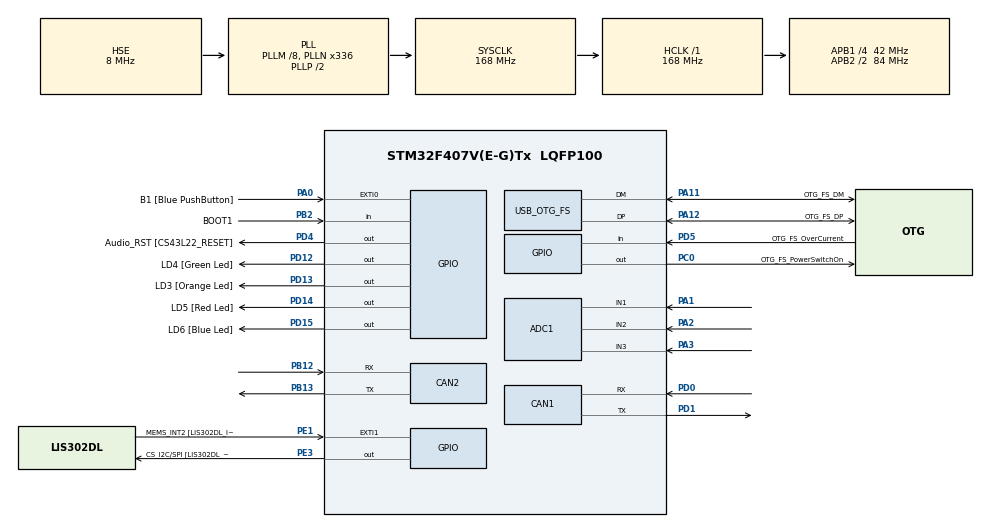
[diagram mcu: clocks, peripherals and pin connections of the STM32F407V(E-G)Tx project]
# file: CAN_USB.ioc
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ADC1.Channel-2\#ChannelRegularConversion=ADC_CHANNEL_1
ADC1.NbrOfConversionFlag=1
ADC1.Rank-2\#ChannelRegularConversion=1
ADC1.SamplingTime-2\#ChannelRegularConversion=ADC_SAMPLETIME_3CYCLES
ADC1.master=1
CAN1.CalculateTimeBit=1142
CAN1.CalculateTimeQuantum=380.95238095238096
CAN2.CalculateTimeBit=1142
CAN2.CalculateTimeQuantum=380.95238095238096
FREERTOS.Tasks01=defaultTask,0,128,StartDefaultTask
Mcu.Family=STM32F4
Mcu.Name=STM32F407V(E-G)Tx
Mcu.Package=LQFP100
NVIC.OTG_FS_IRQn=true\:5\:0\:false
NVIC.PriorityGroup=NVIC_PRIORITYGROUP_4
PA0-WKUP.GPIO_Label=B1 [Blue PushButton]
PA0-WKUP.GPIO_ModeDefaultEXTI=GPIO_MODE_EVT_RISING
PA0-WKUP.GPIO_PuPd=GPIO_NOPULL
PA0-WKUP.Signal=GPXTI0
PA1.Signal=ADCx_IN1
PA10.GPIO_Label=OTG_FS_ID
PA10.GPIO_Mode=GPIO_MODE_AF_PP
PA10.GPIO_PuPd=GPIO_NOPULL
PA10.GPIO_Speed=GPIO_SPEED_LOW
PA10.Signal=USB_OTG_FS_ID
PA11.GPIO_Label=OTG_FS_DM
PA11.GPIO_Mode=GPIO_MODE_AF_PP
PA11.GPIO_PuPd=GPIO_NOPULL
PA11.GPIO_Speed=GPIO_SPEED_LOW
PA11.Mode=Device_Only
PA11.Signal=USB_OTG_FS_DM
PA12.GPIO_Label=OTG_FS_DP
PA12.GPIO_Mode=GPIO_MODE_AF_PP
PA12.GPIO_PuPd=GPIO_NOPULL
PA12.GPIO_Speed=GPIO_SPEED_LOW
PA12.Mode=Device_Only
PA12.Signal=USB_OTG_FS_DP
PA13.GPIO_Label=SWDIO
PA13.Mode=Trace-Asynchronous_SW
PA13.Signal=SYS_JTMS-SWDIO
PA14.GPIO_Label=SWCLK
PA14.Mode=Trace-Asynchronous_SW
PA14.Signal=SYS_JTCK-SWCLK
PA2.Signal=ADCx_IN2
PA3.Signal=ADCx_IN3
PA4.GPIO_Label=I2S3_WS [CS43L22_LRCK]
PA4.GPIO_Mode=GPIO_MODE_AF_PP
PA4.GPIO_PuPd=GPIO_NOPULL
PA4.GPIO_Speed=GPIO_SPEED_LOW
PA4.Signal=I2S3_WS
PA5.GPIO_Label=SPI1_SCK [LIS302DL_SCL/SPC]
PA5.GPIO_Mode=GPIO_MODE_AF_PP
PA5.GPIO_PuPd=GPIO_NOPULL
PA5.GPIO_Speed=GPIO_SPEED_LOW
PA5.Signal=SPI1_SCK
PA6.GPIO_Label=SPI1_MISO [LIS302DL_SDO]
PA6.GPIO_Mode=GPIO_MODE_AF_PP
PA6.GPIO_PuPd=GPIO_NOPULL
PA6.GPIO_Speed=GPIO_SPEED_LOW
PA6.Signal=SPI1_MISO
PA7.GPIO_Label=SPI1_MOSI [LIS302DL_SDA/SDI/SDO]
PA7.GPIO_Mode=GPIO_MODE_AF_PP
PA7.GPIO_PuPd=GPIO_NOPULL
PA7.GPIO_Speed=GPIO_SPEED_LOW
PA7.Signal=SPI1_MOSI
PA9.GPIO_Label=VBUS_FS
PA9.GPIO_Mode=GPIO_MODE_INPUT
PA9.GPIO_PuPd=GPIO_NOPULL
PA9.Signal=USB_OTG_FS_VBUS
PB10.GPIO_Label=CLK_IN [MP45DT02_CLK]
PB10.GPIO_Mode=GPIO_MODE_AF_PP
PB10.GPIO_PuPd=GPIO_NOPULL
PB10.GPIO_Speed=GPIO_SPEED_LOW
PB10.Signal=I2S2_CK
PB12.Mode=Slave
PB12.Signal=CAN2_RX
PB13.Mode=Slave
PB13.Signal=CAN2_TX
PB2.GPIO_Label=BOOT1
PB2.GPIO_Mode=GPIO_MODE_INPUT
PB2.GPIO_PuPd=GPIO_NOPULL
PB2.Signal=GPIO_Input
PB3.GPIO_Label=SWO
PB3.Mode=Trace-Asynchronous_SW
PB3.Signal=SYS_JTDO-SWO
PB6.GPIO_Label=Audio_SCL [CS43L22_SCL]
PB6.GPIO_Mode=GPIO_MODE_AF_OD
PB6.GPIO_PuPd=GPIO_NOPULL
PB6.GPIO_Speed=GPIO_SPEED_LOW
PB6.Signal=I2C1_SCL
PB9.GPIO_Label=Audio_SDA [CS43L22_SDA]
PB9.GPIO_Mode=GPIO_MODE_AF_OD
PB9.GPIO_PuPd=GPIO_NOPULL
PB9.GPIO_Speed=GPIO_SPEED_LOW
PB9.Signal=I2C1_SDA
PC0.GPIO_Label=OTG_FS_PowerSwitchOn
PC0.GPIO_PuPd=GPIO_NOPULL
PC0.GPIO_Speed=GPIO_SPEED_LOW
PC0.Signal=GPIO_Output
PC10.GPIO_Label=I2S3_SCK [CS43L22_SCLK]
PC10.GPIO_Mode=GPIO_MODE_AF_PP
PC10.GPIO_PuPd=GPIO_NOPULL
PC10.GPIO_Speed=GPIO_SPEED_LOW
PC10.Signal=I2S3_CK
PC12.GPIO_Label=I2S3_SD [CS43L22_SDIN]
PC12.GPIO_Mode=GPIO_MODE_AF_PP
PC12.GPIO_PuPd=GPIO_NOPULL
PC12.GPIO_Speed=GPIO_SPEED_LOW
PC12.Signal=I2S3_SD
PC14-OSC32_IN.GPIO_Label=PC14-OSC32_IN
PC14-OSC32_IN.Signal=RCC_OSC32_IN
PC15-OSC32_OUT.GPIO_Label=PC15-OSC32_OUT
PC15-OSC32_OUT.Signal=RCC_OSC32_OUT
PC3.GPIO_Label=PDM_OUT [MP45DT02_DOUT]
PC3.GPIO_Mode=GPIO_MODE_AF_PP
PC3.GPIO_PuPd=GPIO_NOPULL
PC3.GPIO_Speed=GPIO_SPEED_LOW
PC3.Signal=I2S2_SD
PC7.GPIO_Label=I2S3_MCK [CS43L22_MCLK]
PC7.GPIO_Mode=GPIO_MODE_AF_PP
PC7.GPIO_PuPd=GPIO_NOPULL
PC7.GPIO_Speed=GPIO_SPEED_LOW
PC7.Signal=I2S3_MCK
PD0.Mode=Master
PD0.Signal=CAN1_RX
PD1.Mode=Master
PD1.Signal=CAN1_TX
PD12.GPIO_Label=LD4 [Green Led]
PD12.GPIO_PuPd=GPIO_NOPULL
PD12.GPIO_Speed=GPIO_SPEED_LOW
PD12.Signal=GPIO_Output
PD13.GPIO_Label=LD3 [Orange Led]
PD13.GPIO_PuPd=GPIO_NOPULL
PD13.GPIO_Speed=GPIO_SPEED_LOW
PD13.Signal=GPIO_Output
PD14.GPIO_Label=LD5 [Red Led]
PD14.GPIO_PuPd=GPIO_NOPULL
PD14.GPIO_Speed=GPIO_SPEED_LOW
PD14.Signal=GPIO_Output
PD15.GPIO_Label=LD6 [Blue Led]
PD15.GPIO_PuPd=GPIO_NOPULL
PD15.GPIO_Speed=GPIO_SPEED_LOW
PD15.Signal=GPIO_Output
PD4.GPIO_Label=Audio_RST [CS43L22_RESET]
PD4.GPIO_PuPd=GPIO_NOPULL
PD4.GPIO_Speed=GPIO_SPEED_LOW
PD4.Signal=GPIO_Output
PD5.GPIO_Label=OTG_FS_OverCurrent
PD5.GPIO_Mode=GPIO_MODE_INPUT
PD5.GPIO_PuPd=GPIO_NOPULL
PD5.Signal=GPIO_Input
PE1.GPIO_Label=MEMS_INT2 [LIS302DL_INT2]
PE1.GPIO_ModeDefaultEXTI=GPIO_MODE_EVT_RISING
PE1.GPIO_PuPd=GPIO_NOPULL
PE1.Signal=GPXTI1
PE3.GPIO_Label=CS_I2C/SPI [LIS302DL_CS_I2C/SPI]
PE3.GPIO_PuPd=GPIO_NOPULL
PE3.GPIO_Speed=GPIO_SPEED_LOW
PE3.Signal=GPIO_Output
PH0-OSC_IN.GPIO_Label=PH0-OSC_IN
PH0-OSC_IN.Mode=HSE-External-Oscillator
PH0-OSC_IN.Signal=RCC_OSC_IN
PH1-OSC_OUT.GPIO_Label=PH1-OSC_OUT
PH1-OSC_OUT.Mode=HSE-External-Oscillator
PH1-OSC_OUT.Signal=RCC_OSC_OUT
ProjectManager.TargetToolchain=MDK-ARM V5
RCC.48MHZClocksFreq_Value=48000000
RCC.AHBFreq_Value=168000000
RCC.APB1CLKDivider=RCC_HCLK_DIV4
RCC.APB1Freq_Value=42000000
RCC.APB1TimFreq_Value=84000000
RCC.APB2CLKDivider=RCC_HCLK_DIV2
RCC.APB2Freq_Value=84000000
RCC.APB2TimFreq_Value=168000000
RCC.CortexFreq_Value=168000000
RCC.HCLKFreq_Value=168000000
RCC.HSE_VALUE=8000000
RCC.HSI_VALUE=16000000
RCC.LSE_VALUE=32768
RCC.PLLM=8
RCC.PLLN=336
RCC.PLLQ=7
RCC.SYSCLKFreq_VALUE=168000000
RCC.SYSCLKSource=RCC_SYSCLKSOURCE_PLLCLK
RCC.VCOOutputFreq_Value=336000000
SH.ADCx_IN1.0=ADC1_IN1,IN1
SH.ADCx_IN2.0=ADC1_IN2,IN2
SH.ADCx_IN3.0=ADC1_IN3,IN3
USB_DEVICE.CLASS_NAME-CUSTOM_HID_FS=CUSTOMHID
USB_DEVICE.USBD_HandleTypeDef-CUSTOM_HID_FS=hUsbDeviceFS
USB_DEVICE.VirtualMode-CUSTOM_HID_FS=CustomHid
USB_DEVICE.VirtualModeFS=Custom_Hid_FS
USB_OTG_FS.VirtualMode=Device_Only
VP_FREERTOS_VS_ENABLE.Mode=Enabled
VP_USB_DEVICE_VS_USB_DEVICE_CUSTOM_HID_FS.Mode=CUSTOM_HID_FS

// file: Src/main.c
/**
  ******************************************************************************
  * File Name          : main.c
  * Description        : Main program body
  ******************************************************************************
  *
  * COPYRIGHT(c) 2015 STMicroelectronics
  *
  * Redistribution and use in source and binary forms, with or without modification,
  * are permitted provided that the following conditions are met:
  *   1. Redistributions of source code must retain the above copyright notice,
  *      this list of conditions and the following disclaimer.
  *   2. Redistributions in binary form must reproduce the above copyright notice,
  *      this list of conditions and the following disclaimer in the documentation
  *      and/or other materials provided with the distribution.
  *   3. Neither the name of STMicroelectronics nor the names of its contributors
  *      may be used to endorse or promote products derived from this software
  *      without specific prior written permission.
  *
  * THIS SOFTWARE IS PROVIDED BY THE COPYRIGHT HOLDERS AND CONTRIBUTORS "AS IS"
  * AND ANY EXPRESS OR IMPLIED WARRANTIES, INCLUDING, BUT NOT LIMITED TO, THE
  * IMPLIED WARRANTIES OF MERCHANTABILITY AND FITNESS FOR A PARTICULAR PURPOSE ARE
  * DISCLAIMED. IN NO EVENT SHALL THE COPYRIGHT HOLDER OR CONTRIBUTORS BE LIABLE
  * FOR ANY DIRECT, INDIRECT, INCIDENTAL, SPECIAL, EXEMPLARY, OR CONSEQUENTIAL
  * DAMAGES (INCLUDING, BUT NOT LIMITED TO, PROCUREMENT OF SUBSTITUTE GOODS OR
  * SERVICES; LOSS OF USE, DATA, OR PROFITS; OR BUSINESS INTERRUPTION) HOWEVER
  * CAUSED AND ON ANY THEORY OF LIABILITY, WHETHER IN CONTRACT, STRICT LIABILITY,
  * OR TORT (INCLUDING NEGLIGENCE OR OTHERWISE) ARISING IN ANY WAY OUT OF THE USE
  * OF THIS SOFTWARE, EVEN IF ADVISED OF THE POSSIBILITY OF SUCH DAMAGE.
  *
  ******************************************************************************
  */

#include "stm32f4xx_hal.h"
#include "cmsis_os.h"
#include "usb_device.h"
#include "usbd_customhid.h"
#include "can_dbc.h"
#include "timers.h"

ADC_HandleTypeDef hadc1;

CAN_HandleTypeDef hcan1;
CAN_HandleTypeDef hcan2;

osThreadId defaultTaskHandle;

/* USER CODE BEGIN PV */

uint8_t engine_switch_pressed = 0;
uint8_t message_received_flag = 0;
uint8_t message_transmitted_flag = 0;
uint8_t timer_expire_count=0;

#define LAMP_HIGH_BEAM			 		GPIO_PIN_12
#define LAMP_LOW_BEAM				 		GPIO_PIN_13
#define LAMP_TURN_RIGHT			 		GPIO_PIN_14
#define LAMP_TURN_LEFT			 		GPIO_PIN_15
#define LAMP_MARKER							GPIO_PIN_8
#define LAMP_DRL								GPIO_PIN_9
#define LAMP_EMERGENCY_STOP			GPIO_PIN_10
#define LAMP_FRONT_FOG					GPIO_PIN_11
#define LAMP_REAR_FOG						GPIO_PIN_3
#define LAMP_TAIL								GPIO_PIN_4
#define LAMP_BRAKE							GPIO_PIN_5
#define LAMP_DOME								GPIO_PIN_6

#define STACK_SIZE  1024

/* USER CODE END PV */

void SystemClock_Config(void);
static void MX_GPIO_Init(void);
static void MX_ADC1_Init(void);
static void MX_CAN1_Init(void);
static void MX_CAN2_Init(void);
void StartDefaultTask(void const * argument);

/* USER CODE BEGIN PFP */

void vTask_ControlLamps(void *parameters);
void vTask_SendEngineStatus(void *parameters);
void vTask_SendDataToPc(void *parameters);

/* USER CODE END PFP */

int main(void)
{

  /* MCU Configuration----------------------------------------------------------*/

  /* Reset of all peripherals, Initializes the Flash interface and the Systick. */
  HAL_Init();

  /* Configure the system clock */
  SystemClock_Config();

  /* Initialize all configured peripherals */
  MX_GPIO_Init();
  MX_ADC1_Init();
  MX_CAN1_Init();
  MX_CAN2_Init();
	MX_USB_DEVICE_Init();

  /* Create the thread(s) */
  /* definition and creation of defaultTask */
  //osThreadDef(defaultTask, StartDefaultTask, osPriorityNormal, 0, 128);
  //defaultTaskHandle = osThreadCreate(osThread(defaultTask), NULL);

  /* USER CODE BEGIN RTOS_THREADS */
  /* add threads, ... */

	/* Task reads the message MSG_INT_EXT_LIGHT and sets interior and exterior lamps accordingly */
	//xTaskCreate( vTask_SendDataToPc, "USBTask", STACK_SIZE, NULL, tskIDLE_PRIORITY, NULL );
	xTaskCreate( vTask_ControlLamps, "SetLeds", STACK_SIZE, NULL, tskIDLE_PRIORITY, NULL );
	xTaskCreate( vTask_SendEngineStatus, "SendEngineStatus", STACK_SIZE, NULL, tskIDLE_PRIORITY + 1, NULL );

  /* USER CODE END RTOS_THREADS */

  /* Start scheduler */
  osKernelStart();

  /* We should never get here as control is now taken by the scheduler */

  /* Infinite loop */
  while (1)
  {

  }

}

/** System Clock Configuration
*/
void SystemClock_Config(void)
{

  RCC_OscInitTypeDef RCC_OscInitStruct;
  RCC_ClkInitTypeDef RCC_ClkInitStruct;

  __PWR_CLK_ENABLE();

  __HAL_PWR_VOLTAGESCALING_CONFIG(PWR_REGULATOR_VOLTAGE_SCALE1);

  RCC_OscInitStruct.OscillatorType = RCC_OSCILLATORTYPE_HSE;
  RCC_OscInitStruct.HSEState = RCC_HSE_ON;
  RCC_OscInitStruct.PLL.PLLState = RCC_PLL_ON;
  RCC_OscInitStruct.PLL.PLLSource = RCC_PLLSOURCE_HSE;
  RCC_OscInitStruct.PLL.PLLM = 8;
  RCC_OscInitStruct.PLL.PLLN = 336;
  RCC_OscInitStruct.PLL.PLLP = RCC_PLLP_DIV2;
  RCC_OscInitStruct.PLL.PLLQ = 7;
  HAL_RCC_OscConfig(&RCC_OscInitStruct);

  RCC_ClkInitStruct.ClockType = RCC_CLOCKTYPE_SYSCLK|RCC_CLOCKTYPE_PCLK1
                              |RCC_CLOCKTYPE_PCLK2;
  RCC_ClkInitStruct.SYSCLKSource = RCC_SYSCLKSOURCE_PLLCLK;
  RCC_ClkInitStruct.AHBCLKDivider = RCC_SYSCLK_DIV1;
  RCC_ClkInitStruct.APB1CLKDivider = RCC_HCLK_DIV4;
  RCC_ClkInitStruct.APB2CLKDivider = RCC_HCLK_DIV2;
  HAL_RCC_ClockConfig(&RCC_ClkInitStruct, FLASH_LATENCY_5);

  HAL_SYSTICK_Config(HAL_RCC_GetHCLKFreq()/1000);

  HAL_SYSTICK_CLKSourceConfig(SYSTICK_CLKSOURCE_HCLK);

}

/* ADC1 init function */
void MX_ADC1_Init(void)
{

  ADC_ChannelConfTypeDef sConfig;

    /**Configure the global features of the ADC (Clock, Resolution, Data Alignment and number of conversion)
    */
  hadc1.Instance = ADC1;
  hadc1.Init.ClockPrescaler = ADC_CLOCKPRESCALER_PCLK_DIV4;
  hadc1.Init.Resolution = ADC_RESOLUTION12b;
  hadc1.Init.ScanConvMode = DISABLE;
  hadc1.Init.ContinuousConvMode = DISABLE;
  hadc1.Init.DiscontinuousConvMode = DISABLE;
  hadc1.Init.ExternalTrigConvEdge = ADC_EXTERNALTRIGCONVEDGE_NONE;
  hadc1.Init.DataAlign = ADC_DATAALIGN_RIGHT;
  hadc1.Init.NbrOfConversion = 1;
  hadc1.Init.DMAContinuousRequests = DISABLE;
  hadc1.Init.EOCSelection = EOC_SINGLE_CONV;
  HAL_ADC_Init(&hadc1);

    /**Configure for the selected ADC regular channel its corresponding rank in the sequencer and its sample time.
    */
  sConfig.Channel = ADC_CHANNEL_1;
  sConfig.Rank = 1;
  sConfig.SamplingTime = ADC_SAMPLETIME_3CYCLES;
  HAL_ADC_ConfigChannel(&hadc1, &sConfig);

}

/* CAN1 init function */
void MX_CAN1_Init(void)
{

  IRQn_Type irq;
  static CanRxMsgTypeDef RxMessage;
	static CanTxMsgTypeDef TxMessage;
  CAN_FilterConfTypeDef  sFilterConfig;

  __CAN_CLK_ENABLE();

  hcan1.Instance = CAN1;
  hcan1.pRxMsg   = &RxMessage;
	hcan1.pTxMsg   = &TxMessage;
  hcan1.Init.Prescaler = 16;
  hcan1.Init.Mode = CAN_MODE_NORMAL;
  hcan1.Init.SJW = CAN_SJW_1TQ;
  hcan1.Init.BS1 = CAN_BS1_14TQ;
  hcan1.Init.BS2 = CAN_BS2_6TQ;
  hcan1.Init.TTCM = DISABLE;
  hcan1.Init.ABOM = DISABLE;
  hcan1.Init.AWUM = DISABLE;
  hcan1.Init.NART = DISABLE;
  hcan1.Init.RFLM = DISABLE;
  hcan1.Init.TXFP = DISABLE;
  HAL_CAN_Init(&hcan1);

  /*##-2- Configure the CAN Filter ###########################################*/
  sFilterConfig.FilterNumber = 0;
  sFilterConfig.FilterMode = CAN_FILTERMODE_IDMASK;
  sFilterConfig.FilterScale = CAN_FILTERSCALE_32BIT;
  sFilterConfig.FilterIdHigh = 0x0000;
  sFilterConfig.FilterIdLow = 0x0000;
  sFilterConfig.FilterMaskIdHigh = 0x0000;
  sFilterConfig.FilterMaskIdLow = 0x0000;
  sFilterConfig.FilterFIFOAssignment = 0;
  sFilterConfig.FilterActivation = ENABLE;
  sFilterConfig.BankNumber = 14;

  if(HAL_CAN_ConfigFilter(&hcan1, &sFilterConfig) != HAL_OK)
  {
    /* Filter configuration Error */
    while(1);
  }

  irq = CAN1_RX0_IRQn;

  HAL_NVIC_EnableIRQ(irq);

  HAL_CAN_Receive_IT(&hcan1, CAN_FIFO0);

}

/* CAN2 init function */
void MX_CAN2_Init(void)
{

  hcan2.Instance = CAN2;
  hcan2.Init.Prescaler = 16;
  hcan2.Init.Mode = CAN_MODE_NORMAL;
  hcan2.Init.SJW = CAN_SJW_1TQ;
  hcan2.Init.BS1 = CAN_BS1_1TQ;
  hcan2.Init.BS2 = CAN_BS2_1TQ;
  hcan2.Init.TTCM = DISABLE;
  hcan2.Init.ABOM = DISABLE;
  hcan2.Init.AWUM = DISABLE;
  hcan2.Init.NART = DISABLE;
  hcan2.Init.RFLM = DISABLE;
  hcan2.Init.TXFP = DISABLE;
  HAL_CAN_Init(&hcan2);

}

/** Configure pins as
        * Analog
        * Input
        * Output
        * EVENT_OUT
        * EXTI
     PC3   ------> I2S2_SD
     PA4   ------> I2S3_WS
     PA5   ------> SPI1_SCK
     PA6   ------> SPI1_MISO
     PA7   ------> SPI1_MOSI
     PB10   ------> I2S2_CK
     PC7   ------> I2S3_MCK
     PC10   ------> I2S3_CK
     PC12   ------> I2S3_SD
     PB6   ------> I2C1_SCL
     PB9   ------> I2C1_SDA
*/
void MX_GPIO_Init(void)
{

  GPIO_InitTypeDef GPIO_InitStruct;

  /* GPIO Ports Clock Enable */
  __GPIOE_CLK_ENABLE();
  __GPIOC_CLK_ENABLE();
  __GPIOH_CLK_ENABLE();
  __GPIOA_CLK_ENABLE();
  __GPIOB_CLK_ENABLE();
  __GPIOD_CLK_ENABLE();

  /*Configure GPIO pin : PE3 */
  GPIO_InitStruct.Pin = GPIO_PIN_3;
  GPIO_InitStruct.Mode = GPIO_MODE_OUTPUT_PP;
  GPIO_InitStruct.Pull = GPIO_NOPULL;
  GPIO_InitStruct.Speed = GPIO_SPEED_LOW;
  HAL_GPIO_Init(GPIOE, &GPIO_InitStruct);

  /*Configure GPIO pin : PC0 */
  GPIO_InitStruct.Pin = GPIO_PIN_0;
  GPIO_InitStruct.Mode = GPIO_MODE_OUTPUT_PP;
  GPIO_InitStruct.Pull = GPIO_NOPULL;
  GPIO_InitStruct.Speed = GPIO_SPEED_LOW;
  HAL_GPIO_Init(GPIOC, &GPIO_InitStruct);

  /*Configure GPIO pin : PC3 */
  GPIO_InitStruct.Pin = GPIO_PIN_3;
  GPIO_InitStruct.Mode = GPIO_MODE_AF_PP;
  GPIO_InitStruct.Pull = GPIO_NOPULL;
  GPIO_InitStruct.Speed = GPIO_SPEED_LOW;
  GPIO_InitStruct.Alternate = GPIO_AF5_SPI2;
  HAL_GPIO_Init(GPIOC, &GPIO_InitStruct);

  /*Configure GPIO pin : PA0 */
  GPIO_InitStruct.Pin = GPIO_PIN_0;
  GPIO_InitStruct.Mode = GPIO_MODE_EVT_RISING;
  GPIO_InitStruct.Pull = GPIO_NOPULL;
  HAL_GPIO_Init(GPIOA, &GPIO_InitStruct);

  /*Configure GPIO pin : PA4 */
  GPIO_InitStruct.Pin = GPIO_PIN_4;
  GPIO_InitStruct.Mode = GPIO_MODE_AF_PP;
  GPIO_InitStruct.Pull = GPIO_NOPULL;
  GPIO_InitStruct.Speed = GPIO_SPEED_LOW;
  GPIO_InitStruct.Alternate = GPIO_AF6_SPI3;
  HAL_GPIO_Init(GPIOA, &GPIO_InitStruct);

  /*Configure GPIO pins : PA5 PA6 PA7 */
  GPIO_InitStruct.Pin = GPIO_PIN_5|GPIO_PIN_6|GPIO_PIN_7;
  GPIO_InitStruct.Mode = GPIO_MODE_AF_PP;
  GPIO_InitStruct.Pull = GPIO_NOPULL;
  GPIO_InitStruct.Speed = GPIO_SPEED_LOW;
  GPIO_InitStruct.Alternate = GPIO_AF5_SPI1;
  HAL_GPIO_Init(GPIOA, &GPIO_InitStruct);

  /*Configure GPIO pin : PB2 */
  GPIO_InitStruct.Pin = GPIO_PIN_2;
  GPIO_InitStruct.Mode = GPIO_MODE_INPUT;
  GPIO_InitStruct.Pull = GPIO_NOPULL;
  HAL_GPIO_Init(GPIOB, &GPIO_InitStruct);

  /*Configure GPIO pin : PB10 */
  GPIO_InitStruct.Pin = GPIO_PIN_10;
  GPIO_InitStruct.Mode = GPIO_MODE_AF_PP;
  GPIO_InitStruct.Pull = GPIO_NOPULL;
  GPIO_InitStruct.Speed = GPIO_SPEED_LOW;
  GPIO_InitStruct.Alternate = GPIO_AF5_SPI2;
  HAL_GPIO_Init(GPIOB, &GPIO_InitStruct);

  /*Configure GPIO pins : PD12 PD13 PD14 PD15
                           PD4 */
  GPIO_InitStruct.Pin = GPIO_PIN_12|GPIO_PIN_13|GPIO_PIN_14|GPIO_PIN_15
                          |GPIO_PIN_4;
  GPIO_InitStruct.Mode = GPIO_MODE_OUTPUT_PP;
  GPIO_InitStruct.Pull = GPIO_NOPULL;
  GPIO_InitStruct.Speed = GPIO_SPEED_LOW;
  HAL_GPIO_Init(GPIOD, &GPIO_InitStruct);

  /*Configure GPIO pins : PC7 PC10 PC12 */
  GPIO_InitStruct.Pin = GPIO_PIN_7|GPIO_PIN_10|GPIO_PIN_12;
  GPIO_InitStruct.Mode = GPIO_MODE_AF_PP;
  GPIO_InitStruct.Pull = GPIO_NOPULL;
  GPIO_InitStruct.Speed = GPIO_SPEED_LOW;
  GPIO_InitStruct.Alternate = GPIO_AF6_SPI3;
  HAL_GPIO_Init(GPIOC, &GPIO_InitStruct);

  /*Configure GPIO pin : PD5 */
  GPIO_InitStruct.Pin = GPIO_PIN_5;
  GPIO_InitStruct.Mode = GPIO_MODE_INPUT;
  GPIO_InitStruct.Pull = GPIO_NOPULL;
  HAL_GPIO_Init(GPIOD, &GPIO_InitStruct);

  /*Configure GPIO pins : PB6 PB9 */
  GPIO_InitStruct.Pin = GPIO_PIN_6|GPIO_PIN_9;
  GPIO_InitStruct.Mode = GPIO_MODE_AF_OD;
  GPIO_InitStruct.Pull = GPIO_PULLUP;
  GPIO_InitStruct.Speed = GPIO_SPEED_LOW;
  GPIO_InitStruct.Alternate = GPIO_AF4_I2C1;
  HAL_GPIO_Init(GPIOB, &GPIO_InitStruct);

  /*Configure GPIO pin : PE1 */
  GPIO_InitStruct.Pin = GPIO_PIN_1;
  GPIO_InitStruct.Mode = GPIO_MODE_EVT_RISING;
  GPIO_InitStruct.Pull = GPIO_NOPULL;
  HAL_GPIO_Init(GPIOE, &GPIO_InitStruct);

}

/* USER CODE BEGIN 4 */

void vTimerCallback( TimerHandle_t pxTimer )
{
	const uint8_t xMaxExpiryCountBeforeStopping = 5;

	/* Optionally do something if the pxTimer parameter is NULL. */
  configASSERT( pxTimer );

	if(xMaxExpiryCountBeforeStopping == timer_expire_count)
	{
		timer_expire_count = 0;
		xTimerStop( pxTimer, 0 );
	}
	else
	{

	}

}

/*
Task: 			 vTask_SendEngineStatus
Parameters:  void
Return: 		 void
Description: This FreeRTOS thread sends the engine status to all ECUs. Note that engine button is push to start
             and push to stop.
*/

void vTask_SendEngineStatus(void *parameters)
{
	uint8_t i=0;
	uint8_t data[11];
	static uint8_t msg_transmit_cnt=5;
	TickType_t xLastWakeTime;
  const TickType_t xFrequency = 1000;
	TimerHandle_t xTimer;
	xTimer = xTimerCreate
								(  /* Just a text name, not used by the RTOS kernel. */
                     "Timer",
                     /* The timer period in ticks. */
                     ( 200 ),
                     /* The timers will auto-reload themselves when they expire. */
                     pdTRUE,
                     /* Assign each timer a unique id equal to its array index. */
                     ( void * ) 1,
                     /* Each timer calls the same callback when it expires. */
                     vTimerCallback
                );

	for(;;)
		{
			//switch has been pressed. inital value of engine_switch_pressed is 0.
			if((GPIO_PIN_SET == HAL_GPIO_ReadPin(GPIOA, GPIO_PIN_0)) && (msg_transmit_cnt==5))
			{
				engine_switch_pressed= !engine_switch_pressed;
				msg_transmit_cnt = 0;
				/*
				timer_expire_count = 0;
				if( xTimerStart( xTimer, 0 ) != pdPASS )
        {
           // The timer could not be set into the Active state.
        }
				*/

			}

			if(msg_transmit_cnt<5)
			{
				//prepare message
					hcan1.pTxMsg->StdId   = MSG_Engine_Status;
					hcan1.pTxMsg->DLC     = DLC_Engine_Status;
					hcan1.pTxMsg->IDE     = CAN_RTR_DATA;
					hcan1.pTxMsg->RTR     = CAN_ID_STD;
					hcan1.pTxMsg->Data[0] = (engine_switch_pressed & SIGNAL_ENGINE_STATUS);

					//Transmit the message
					if(HAL_OK == HAL_CAN_Transmit(&hcan1, 100))
					{
							HAL_GPIO_WritePin(GPIOD, GPIO_PIN_13, GPIO_PIN_SET);
					}
					else
					{
							HAL_GPIO_WritePin(GPIOD, GPIO_PIN_13, GPIO_PIN_RESET);
					}

					//timer_expire_count += 1;
					msg_transmit_cnt =  msg_transmit_cnt + 1;

					//make message_transmitted flag to 1 so that USB task will send message to PC
					message_transmitted_flag = 1;

					i=0;

					data[i++] =  hcan1.pTxMsg->StdId;
					data[i++] = (hcan1.pTxMsg->StdId) >> 8;
					data[i++] =  hcan1.pTxMsg->DLC;

					for(; i<11; i++)
					{
					data[i] = hcan1.pTxMsg->Data[i-3];
					}

					if(USBD_OK == USBD_CUSTOM_HID_SendReport(&hUsbDeviceFS, data, sizeof(data)))
					{

					}
					else
					{

					}

			}

			vTaskDelayUntil(&xLastWakeTime,xFrequency);

		}

}

/*
Task: 			 vTask_ControlLamps
Parameters:  void
Return: 		 void
Description: This FreeRTOS thread reads message MSG_INT_EXT_LIGHT(0x350) and sets corresponding lamps on or off accordingly
*/
void vTask_ControlLamps(void *parameters)
{
	uint8_t data[11];
	int i=0;
	TickType_t xLastWakeTime;
  const TickType_t xFrequency = 50;

  // Initialise the xLastWakeTime variable with the current time.
  xLastWakeTime = xTaskGetTickCount();

	for(;;)	//run task continuously
	{
		if(hcan1.pRxMsg->StdId==MSG_INT_EXT_LIGHT)
		{

			//set message_received_flag to 1 so that USB task can send this message to PC
			message_received_flag = 1;

			/* For high beam */
			if(hcan1.pRxMsg->Data[0] & SIGNAL_HIGH_BEAM){
				HAL_GPIO_WritePin(GPIOD, LAMP_HIGH_BEAM, GPIO_PIN_SET);
			}
			else{
				HAL_GPIO_WritePin(GPIOD, LAMP_HIGH_BEAM, GPIO_PIN_RESET);
			}

			/* For low beam */
			if((hcan1.pRxMsg->Data[0] & SIGNAL_LOW_BEAM)){
				HAL_GPIO_WritePin(GPIOD, LAMP_LOW_BEAM, GPIO_PIN_SET);
			}
			else{
				HAL_GPIO_WritePin(GPIOD, LAMP_LOW_BEAM, GPIO_PIN_RESET);
			}

			/* For left turn indicator */
			if((hcan1.pRxMsg->Data[0] & SIGNAL_LEFT_TURN_INDICATOR)){
				HAL_GPIO_WritePin(GPIOD, LAMP_TURN_LEFT, GPIO_PIN_SET);
			}
			else{
				HAL_GPIO_WritePin(GPIOD, LAMP_TURN_LEFT, GPIO_PIN_RESET);
			}

			/* For right turn indicator */
			if((hcan1.pRxMsg->Data[0] & SIGNAL_RIGHT_TURN_INDICATOR)){
				HAL_GPIO_WritePin(GPIOD, LAMP_TURN_RIGHT, GPIO_PIN_SET);
			}
			else{
				HAL_GPIO_WritePin(GPIOD, LAMP_TURN_RIGHT, GPIO_PIN_RESET);
			}

			/* For marker light */
			if((hcan1.pRxMsg->Data[0] & SIGNAL_MARKER_LIGHT)){
				HAL_GPIO_WritePin(GPIOD, LAMP_MARKER, GPIO_PIN_SET);
			}
			else{
				HAL_GPIO_WritePin(GPIOD, LAMP_MARKER, GPIO_PIN_RESET);
			}

			/* For DRL */
			if((hcan1.pRxMsg->Data[0] & SIGNAL_DRL)){
				HAL_GPIO_WritePin(GPIOD, LAMP_DRL, GPIO_PIN_SET);
			}
			else{
				HAL_GPIO_WritePin(GPIOD, LAMP_DRL, GPIO_PIN_RESET);
			}

			/* For emergency stop */
			if((hcan1.pRxMsg->Data[0] & SIGNAL_EMERGENCY_STOP)){
				HAL_GPIO_WritePin(GPIOD, LAMP_EMERGENCY_STOP, GPIO_PIN_SET);
			}
			else{
				HAL_GPIO_WritePin(GPIOD, LAMP_EMERGENCY_STOP, GPIO_PIN_RESET);
			}

			/* For front fog lamp */
			if((hcan1.pRxMsg->Data[0] & SIGNAL_FRONT_FOG_LAMP)){
				HAL_GPIO_WritePin(GPIOD, LAMP_FRONT_FOG, GPIO_PIN_SET);
			}
			else{
				HAL_GPIO_WritePin(GPIOD, LAMP_FRONT_FOG, GPIO_PIN_RESET);
			}

			/* For rear fog lamp */
			if((hcan1.pRxMsg->Data[1] & SIGNAL_REAR_FOG_LAMP)){
				HAL_GPIO_WritePin(GPIOD, LAMP_REAR_FOG, GPIO_PIN_SET);
			}
			else{
				HAL_GPIO_WritePin(GPIOD, LAMP_REAR_FOG, GPIO_PIN_RESET);
			}

			/* For tail lamp */
			if((hcan1.pRxMsg->Data[1] & SIGNAL_TAIL_LAMP)){
				HAL_GPIO_WritePin(GPIOD, LAMP_TAIL, GPIO_PIN_SET);
			}
			else{
				HAL_GPIO_WritePin(GPIOD, LAMP_TAIL, GPIO_PIN_RESET);
			}

			/* For brake lamp */
			if((hcan1.pRxMsg->Data[1] & SIGNAL_BRAKE_LAMP)){
				HAL_GPIO_WritePin(GPIOD, LAMP_BRAKE, GPIO_PIN_SET);
			}
			else{
				HAL_GPIO_WritePin(GPIOD, LAMP_BRAKE, GPIO_PIN_RESET);
			}

			/* For dome lamp */
			if((hcan1.pRxMsg->Data[1] & SIGNAL_DOME_LAMP)){
				HAL_GPIO_WritePin(GPIOD, LAMP_DOME, GPIO_PIN_SET);
			}
			else{
				HAL_GPIO_WritePin(GPIOD, LAMP_DOME, GPIO_PIN_RESET);
			}

				i=0;

				data[i++] =  hcan1.pRxMsg->StdId;
				data[i++] = (hcan1.pRxMsg->StdId) >> 8;
				data[i++] =  hcan1.pRxMsg->DLC;

				for(; i<11; i++)
				{
					data[i] = hcan1.pRxMsg->Data[i-3];
				}

				if(USBD_OK == USBD_CUSTOM_HID_SendReport(&hUsbDeviceFS, data, sizeof(data)))
				{
				//HAL_GPIO_WritePin(GPIOD, GPIO_PIN_13, GPIO_PIN_SET);
				}
				else
				{
				//HAL_GPIO_WritePin(GPIOD, GPIO_PIN_13, GPIO_PIN_RESET);
				}
			}

		vTaskDelayUntil(&xLastWakeTime, xFrequency);

	}

}

/* USER CODE END 4 */
/*
Task: 			 vTask_SendDataToPc
Parameters:  void
Return: 		 void
Description: This FreeRTOS thread sends all CAN messages seen on CAN bus to PC for analysis.
*/
void vTask_SendDataToPc(void *parameters)
{
	 /* init code for USB_DEVICE */

	//Format: ID-Byte1, ID-Byte2, DLC, Bytes-0 to 7
	//uint8_t data[11]= {0x50, 0x03, 2, 0, 10, 20, 30, 40, 50, 60, 70};
	//int i=0;

	uint8_t data[11];
	int i=0;

  for(;;)
  {

			if(message_received_flag)
			{

				message_received_flag = 0;
			}

			if(message_transmitted_flag)
			{

				message_transmitted_flag = 0;
			}

		vTaskDelay(10);
  }

}

/* StartDefaultTask function */
void StartDefaultTask(void const * argument)
{

}

/************************ (C) COPYRIGHT STMicroelectronics *****END OF FILE****/
